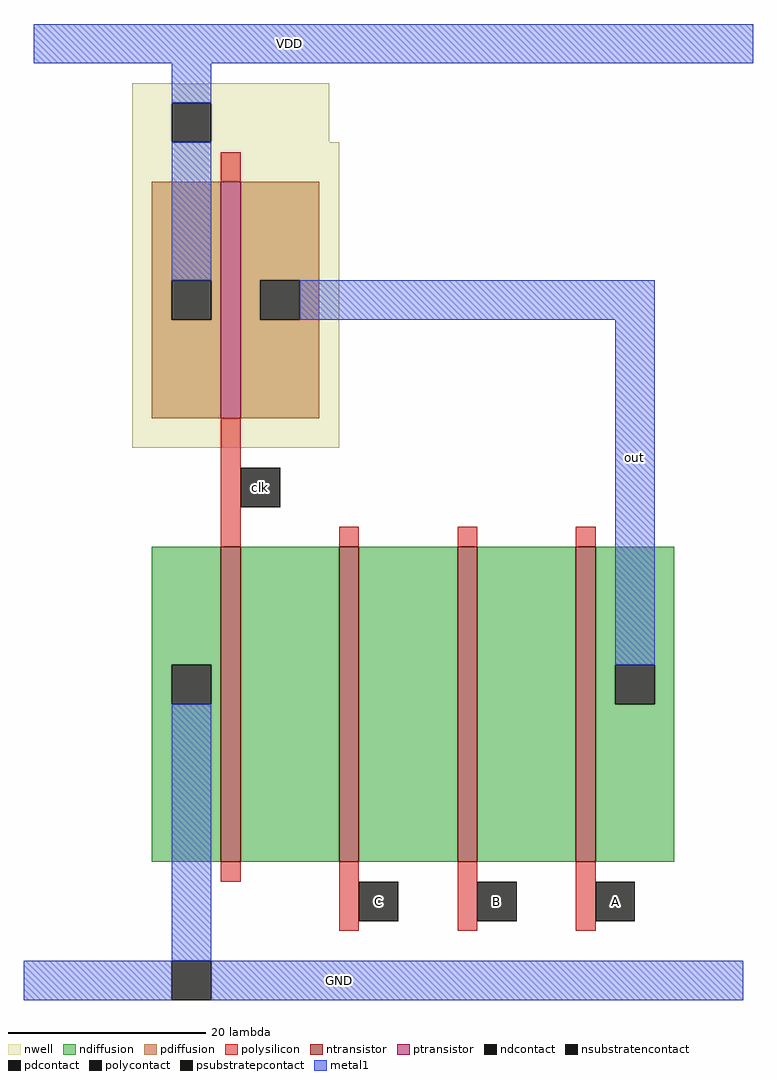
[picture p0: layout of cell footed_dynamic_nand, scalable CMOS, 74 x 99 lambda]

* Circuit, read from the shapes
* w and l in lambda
.subckt footed_dynamic_nand A B C GND VDD clk out
M1 n1 clk GND GND nfet w=32 l=2
M2 n2 C n1 GND nfet w=32 l=2
M3 n3 B n2 GND nfet w=32 l=2
M4 out A n3 GND nfet w=32 l=2
M5 out clk VDD VDD pfet w=24 l=2
.ends

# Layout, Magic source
magic
tech scmos
<< nwell >>
rect -11 24 9 30
rect -11 -7 10 24
<< polysilicon >>
rect -2 20 0 23
rect -2 -17 0 -4
rect 10 -17 12 -15
rect 22 -17 24 -15
rect 34 -17 36 -15
rect -2 -51 0 -49
rect 10 -56 12 -49
rect 22 -56 24 -49
rect 34 -56 36 -49
<< ndiffusion >>
rect -9 -29 -2 -17
rect -9 -33 -7 -29
rect -3 -33 -2 -29
rect -9 -49 -2 -33
rect 0 -49 10 -17
rect 12 -49 22 -17
rect 24 -49 34 -17
rect 36 -29 44 -17
rect 36 -33 38 -29
rect 42 -33 44 -29
rect 36 -49 44 -33
<< pdiffusion >>
rect -9 10 -2 20
rect -9 6 -7 10
rect -3 6 -2 10
rect -9 -4 -2 6
rect 0 10 8 20
rect 0 6 2 10
rect 6 6 8 10
rect 0 -4 8 6
<< metal1 >>
rect -21 32 52 36
rect -7 28 -3 32
rect -7 10 -3 24
rect 6 6 42 10
rect 38 -29 42 6
rect -7 -59 -3 -33
rect -22 -63 -7 -59
rect -3 -63 51 -59
<< ntransistor >>
rect -2 -49 0 -17
rect 10 -49 12 -17
rect 22 -49 24 -17
rect 34 -49 36 -17
<< ptransistor >>
rect -2 -4 0 20
<< polycontact >>
rect 0 -13 4 -9
rect 12 -55 16 -51
rect 24 -55 28 -51
rect 36 -55 40 -51
<< ndcontact >>
rect -7 -33 -3 -29
rect 38 -33 42 -29
<< pdcontact >>
rect -7 6 -3 10
rect 2 6 6 10
<< psubstratepcontact >>
rect -7 -63 -3 -59
<< nsubstratencontact >>
rect -7 24 -3 28
<< labels >>
rlabel polycontact 2 -11 2 -11 1 clk
rlabel metal1 40 -8 40 -8 1 out
rlabel metal1 10 -61 10 -61 1 GND
rlabel polycontact 38 -53 38 -53 1 A
rlabel polycontact 26 -53 26 -53 1 B
rlabel polycontact 14 -53 14 -53 1 C
rlabel metal1 5 34 5 34 5 VDD
<< end >>
